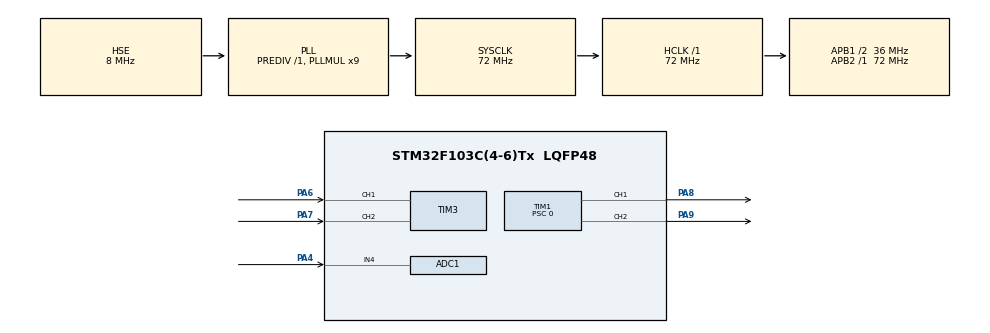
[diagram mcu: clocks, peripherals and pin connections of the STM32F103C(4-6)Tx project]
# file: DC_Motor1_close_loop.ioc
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ADC1.Channel-0\#ChannelRegularConversion=ADC_CHANNEL_4
ADC1.ContinuousConvMode=ENABLE
ADC1.NbrOfConversionFlag=1
ADC1.Rank-0\#ChannelRegularConversion=1
ADC1.SamplingTime-0\#ChannelRegularConversion=ADC_SAMPLETIME_1CYCLE_5
ADC1.master=1
Mcu.Family=STM32F1
Mcu.Name=STM32F103C(4-6)Tx
Mcu.Package=LQFP48
NVIC.PriorityGroup=NVIC_PRIORITYGROUP_4
NVIC.TIM2_IRQn=true\:0\:0\:false\:false\:true\:true\:true\:true
PA13.Mode=Serial_Wire
PA13.Signal=SYS_JTMS-SWDIO
PA14.Mode=Serial_Wire
PA14.Signal=SYS_JTCK-SWCLK
PA4.Signal=ADCx_IN4
PA6.Signal=S_TIM3_CH1
PA7.Signal=S_TIM3_CH2
PA8.Signal=S_TIM1_CH1
PA9.Signal=S_TIM1_CH2
PD0-OSC_IN.Mode=HSE-External-Oscillator
PD0-OSC_IN.Signal=RCC_OSC_IN
PD1-OSC_OUT.Mode=HSE-External-Oscillator
PD1-OSC_OUT.Signal=RCC_OSC_OUT
ProjectManager.HeapSize=0x200
ProjectManager.StackSize=0x400
ProjectManager.TargetToolchain=STM32CubeIDE
RCC.ADCPresc=RCC_ADCPCLK2_DIV6
RCC.AHBFreq_Value=72000000
RCC.APB1CLKDivider=RCC_HCLK_DIV2
RCC.APB1Freq_Value=36000000
RCC.APB1TimFreq_Value=72000000
RCC.APB2Freq_Value=72000000
RCC.APB2TimFreq_Value=72000000
RCC.HCLKFreq_Value=72000000
RCC.PLLMUL=RCC_PLL_MUL9
RCC.PLLSourceVirtual=RCC_PLLSOURCE_HSE
RCC.SYSCLKFreq_VALUE=72000000
RCC.SYSCLKSource=RCC_SYSCLKSOURCE_PLLCLK
RCC.USBFreq_Value=72000000
SH.ADCx_IN4.0=ADC1_IN4,IN4
SH.S_TIM1_CH1.0=TIM1_CH1,PWM Generation1 CH1
SH.S_TIM1_CH2.0=TIM1_CH2,PWM Generation2 CH2
SH.S_TIM3_CH1.0=TIM3_CH1,Encoder_Interface
SH.S_TIM3_CH2.0=TIM3_CH2,Encoder_Interface
TIM1.AutoReloadPreload=TIM_AUTORELOAD_PRELOAD_ENABLE
TIM1.Channel-PWM\ Generation1\ CH1=TIM_CHANNEL_1
TIM1.Channel-PWM\ Generation2\ CH2=TIM_CHANNEL_2
TIM1.Period=360
TIM1.Prescaler=0
TIM2.AutoReloadPreload=TIM_AUTORELOAD_PRELOAD_ENABLE
TIM2.Period=7200
TIM2.Prescaler=100
TIM3.AutoReloadPreload=TIM_AUTORELOAD_PRELOAD_ENABLE
TIM3.EncoderMode=TIM_ENCODERMODE_TI12
VP_TIM1_VS_ClockSourceINT.Mode=Internal
VP_TIM2_VS_ClockSourceINT.Mode=Internal
board=custom

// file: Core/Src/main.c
/* USER CODE BEGIN Header */
/**
  ******************************************************************************
  * @file           : main.c
  * @brief          : Main program body
  ******************************************************************************
  * @attention
  *
  * Copyright (c) 2023 STMicroelectronics.
  * All rights reserved.
  *
  * This software is licensed under terms that can be found in the LICENSE file
  * in the root directory of this software component.
  * If no LICENSE file comes with this software, it is provided AS-IS.
  *
  ******************************************************************************
  */
/* USER CODE END Header */
#include "main.h"

/* USER CODE BEGIN Includes */
#include "PID.h"
#include <stdlib.h>
/* USER CODE END Includes */

/* USER CODE BEGIN PTD */
PIDController MPID;

/* USER CODE END PTD */

/* USER CODE BEGIN PM */
#define Right 1
#define Left 2
uint8_t Driver = Right;

PIDController MPID;
#define MKp 1.0
#define MKi 140.0
#define MKd 0.0

// need to configuration
#define CPR 360
#define Sample_time 10 // ms
/* USER CODE END PM */

ADC_HandleTypeDef hadc1;

TIM_HandleTypeDef htim1;
TIM_HandleTypeDef htim2;
TIM_HandleTypeDef htim3;

/* USER CODE BEGIN PV */
#define pi 3.1415
#define Motor1 0

uint16_t cnt[1];
uint16_t Enc_count[1];

uint16_t count[1]; // count pulse from encoder
uint16_t new_count[1];
uint8_t count_state[1];
uint16_t diff[1]; // difference between count and new_count in a sample time

float speedM[1];
float rdps[1];

float Motor1_speed = 0;
float V1 = 0; // target speed of motor1
float pwm_M1 = 0;
float map(float Input, float Min_Input , float Max_Input ,float Min_Output, float Max_Output){

	return (float) ((Input - Min_Input) * (Max_Output - Min_Output) / (Max_Input - Min_Input) + Min_Output);
}
/* USER CODE END PV */

void SystemClock_Config(void);
static void MX_GPIO_Init(void);
static void MX_TIM2_Init(void);
static void MX_TIM3_Init(void);
static void MX_ADC1_Init(void);
static void MX_TIM1_Init(void);
/* USER CODE BEGIN PFP */
float Motors_RPS(int j, float SampleTime, float N_round)
{
	new_count[Motor1] = TIM3->CNT;

	count_state[Motor1] = __HAL_TIM_IS_TIM_COUNTING_DOWN(&htim3);

	if (count_state[j])
	{
		if (new_count[j] <= count[j])
		{ // Check for counter underflow
			diff[j] = count[j] - new_count[j];
		}
		else
		{
			diff[j] = (65536 - new_count[j]) + count[j];
		}
		speedM[j] = (float)diff[j] * 1000.0f / (N_round * SampleTime);
	}
	else
	{
		if (new_count[j] >= count[j])
		{ // Check for counter overflow
			diff[j] = new_count[j] - count[j];
		}
		else
		{
			diff[j] = (65536 - count[j]) + new_count[j];
		}
		speedM[j] = (float)diff[j] * 1000.0f / (N_round * SampleTime);
	}

	rdps[j] = 2.0f * pi * abs(speedM[j]);
	count[j] = new_count[j];

	return rdps[j];
}
/* USER CODE END PFP */

/* USER CODE BEGIN 0 */
uint8_t position=0;
int speed=0;
uint16_t ReadValue=0;
double Setpoint,Output,Input;

/* USER CODE END 0 */

int main(void)
{
  /* USER CODE BEGIN 1 */
	// PID init--------------------------------
		PID_Init(&MPID, 1);
		MPID.T = 0.01;		// T = 10ms
		MPID.limMax = 320;
		MPID.limMin = 0;
		MPID.limMaxInt = 320;
		MPID.limMinInt = 0;
		MPID.tau = 0;	// for Kd
  /* USER CODE END 1 */

  /* MCU Configuration--------------------------------------------------------*/

  /* Reset of all peripherals, Initializes the Flash interface and the Systick. */
  HAL_Init();

  /* Configure the system clock */
  SystemClock_Config();

  /* Initialize all configured peripherals */
  MX_GPIO_Init();
  MX_TIM2_Init();
  MX_TIM3_Init();
  MX_ADC1_Init();
  MX_TIM1_Init();
  /* USER CODE BEGIN 2 */
  HAL_TIM_Encoder_Start_IT(&htim3, TIM_CHANNEL_ALL);
  HAL_TIM_PWM_Start(&htim1, TIM_CHANNEL_1);
  HAL_TIM_PWM_Start(&htim1,TIM_CHANNEL_2);
  HAL_TIM_Base_Start_IT(&htim2);
  /* USER CODE END 2 */

  /* Infinite loop */
  /* USER CODE BEGIN WHILE */
  while (1)
  {
	  HAL_ADC_Start(&hadc1);
	  HAL_ADC_PollForConversion(&hadc1,1);
	  ReadValue= HAL_ADC_GetValue(&hadc1);
	  V1=map(ReadValue,0,4096,0,1);
    /* USER CODE END WHILE */

  }
}

void SystemClock_Config(void)
{
  RCC_OscInitTypeDef RCC_OscInitStruct = {0};
  RCC_ClkInitTypeDef RCC_ClkInitStruct = {0};
  RCC_PeriphCLKInitTypeDef PeriphClkInit = {0};

  /** Initializes the RCC Oscillators according to the specified parameters
  * in the RCC_OscInitTypeDef structure.
  */
  RCC_OscInitStruct.OscillatorType = RCC_OSCILLATORTYPE_HSE;
  RCC_OscInitStruct.HSEState = RCC_HSE_ON;
  RCC_OscInitStruct.HSEPredivValue = RCC_HSE_PREDIV_DIV1;
  RCC_OscInitStruct.HSIState = RCC_HSI_ON;
  RCC_OscInitStruct.PLL.PLLState = RCC_PLL_ON;
  RCC_OscInitStruct.PLL.PLLSource = RCC_PLLSOURCE_HSE;
  RCC_OscInitStruct.PLL.PLLMUL = RCC_PLL_MUL9;
  if (HAL_RCC_OscConfig(&RCC_OscInitStruct) != HAL_OK)
  {
    Error_Handler();
  }

  /** Initializes the CPU, AHB and APB buses clocks
  */
  RCC_ClkInitStruct.ClockType = RCC_CLOCKTYPE_HCLK|RCC_CLOCKTYPE_SYSCLK
                              |RCC_CLOCKTYPE_PCLK1|RCC_CLOCKTYPE_PCLK2;
  RCC_ClkInitStruct.SYSCLKSource = RCC_SYSCLKSOURCE_PLLCLK;
  RCC_ClkInitStruct.AHBCLKDivider = RCC_SYSCLK_DIV1;
  RCC_ClkInitStruct.APB1CLKDivider = RCC_HCLK_DIV2;
  RCC_ClkInitStruct.APB2CLKDivider = RCC_HCLK_DIV1;

  if (HAL_RCC_ClockConfig(&RCC_ClkInitStruct, FLASH_LATENCY_2) != HAL_OK)
  {
    Error_Handler();
  }
  PeriphClkInit.PeriphClockSelection = RCC_PERIPHCLK_ADC;
  PeriphClkInit.AdcClockSelection = RCC_ADCPCLK2_DIV6;
  if (HAL_RCCEx_PeriphCLKConfig(&PeriphClkInit) != HAL_OK)
  {
    Error_Handler();
  }
}

static void MX_ADC1_Init(void)
{

  ADC_ChannelConfTypeDef sConfig = {0};

  /** Common config
  */
  hadc1.Instance = ADC1;
  hadc1.Init.ScanConvMode = ADC_SCAN_DISABLE;
  hadc1.Init.ContinuousConvMode = ENABLE;
  hadc1.Init.DiscontinuousConvMode = DISABLE;
  hadc1.Init.ExternalTrigConv = ADC_SOFTWARE_START;
  hadc1.Init.DataAlign = ADC_DATAALIGN_RIGHT;
  hadc1.Init.NbrOfConversion = 1;
  if (HAL_ADC_Init(&hadc1) != HAL_OK)
  {
    Error_Handler();
  }

  /** Configure Regular Channel
  */
  sConfig.Channel = ADC_CHANNEL_4;
  sConfig.Rank = ADC_REGULAR_RANK_1;
  sConfig.SamplingTime = ADC_SAMPLETIME_1CYCLE_5;
  if (HAL_ADC_ConfigChannel(&hadc1, &sConfig) != HAL_OK)
  {
    Error_Handler();
  }

}

static void MX_TIM1_Init(void)
{

  TIM_ClockConfigTypeDef sClockSourceConfig = {0};
  TIM_MasterConfigTypeDef sMasterConfig = {0};
  TIM_OC_InitTypeDef sConfigOC = {0};
  TIM_BreakDeadTimeConfigTypeDef sBreakDeadTimeConfig = {0};

  htim1.Instance = TIM1;
  htim1.Init.Prescaler = 0;
  htim1.Init.CounterMode = TIM_COUNTERMODE_UP;
  htim1.Init.Period = 360;
  htim1.Init.ClockDivision = TIM_CLOCKDIVISION_DIV1;
  htim1.Init.RepetitionCounter = 0;
  htim1.Init.AutoReloadPreload = TIM_AUTORELOAD_PRELOAD_ENABLE;
  if (HAL_TIM_Base_Init(&htim1) != HAL_OK)
  {
    Error_Handler();
  }
  sClockSourceConfig.ClockSource = TIM_CLOCKSOURCE_INTERNAL;
  if (HAL_TIM_ConfigClockSource(&htim1, &sClockSourceConfig) != HAL_OK)
  {
    Error_Handler();
  }
  if (HAL_TIM_PWM_Init(&htim1) != HAL_OK)
  {
    Error_Handler();
  }
  sMasterConfig.MasterOutputTrigger = TIM_TRGO_RESET;
  sMasterConfig.MasterSlaveMode = TIM_MASTERSLAVEMODE_DISABLE;
  if (HAL_TIMEx_MasterConfigSynchronization(&htim1, &sMasterConfig) != HAL_OK)
  {
    Error_Handler();
  }
  sConfigOC.OCMode = TIM_OCMODE_PWM1;
  sConfigOC.Pulse = 0;
  sConfigOC.OCPolarity = TIM_OCPOLARITY_HIGH;
  sConfigOC.OCNPolarity = TIM_OCNPOLARITY_HIGH;
  sConfigOC.OCFastMode = TIM_OCFAST_DISABLE;
  sConfigOC.OCIdleState = TIM_OCIDLESTATE_RESET;
  sConfigOC.OCNIdleState = TIM_OCNIDLESTATE_RESET;
  if (HAL_TIM_PWM_ConfigChannel(&htim1, &sConfigOC, TIM_CHANNEL_1) != HAL_OK)
  {
    Error_Handler();
  }
  if (HAL_TIM_PWM_ConfigChannel(&htim1, &sConfigOC, TIM_CHANNEL_2) != HAL_OK)
  {
    Error_Handler();
  }
  sBreakDeadTimeConfig.OffStateRunMode = TIM_OSSR_DISABLE;
  sBreakDeadTimeConfig.OffStateIDLEMode = TIM_OSSI_DISABLE;
  sBreakDeadTimeConfig.LockLevel = TIM_LOCKLEVEL_OFF;
  sBreakDeadTimeConfig.DeadTime = 0;
  sBreakDeadTimeConfig.BreakState = TIM_BREAK_DISABLE;
  sBreakDeadTimeConfig.BreakPolarity = TIM_BREAKPOLARITY_HIGH;
  sBreakDeadTimeConfig.AutomaticOutput = TIM_AUTOMATICOUTPUT_DISABLE;
  if (HAL_TIMEx_ConfigBreakDeadTime(&htim1, &sBreakDeadTimeConfig) != HAL_OK)
  {
    Error_Handler();
  }
  HAL_TIM_MspPostInit(&htim1);

}

static void MX_TIM2_Init(void)
{

  TIM_ClockConfigTypeDef sClockSourceConfig = {0};
  TIM_MasterConfigTypeDef sMasterConfig = {0};

  htim2.Instance = TIM2;
  htim2.Init.Prescaler = 100;
  htim2.Init.CounterMode = TIM_COUNTERMODE_UP;
  htim2.Init.Period = 7200;
  htim2.Init.ClockDivision = TIM_CLOCKDIVISION_DIV1;
  htim2.Init.AutoReloadPreload = TIM_AUTORELOAD_PRELOAD_ENABLE;
  if (HAL_TIM_Base_Init(&htim2) != HAL_OK)
  {
    Error_Handler();
  }
  sClockSourceConfig.ClockSource = TIM_CLOCKSOURCE_INTERNAL;
  if (HAL_TIM_ConfigClockSource(&htim2, &sClockSourceConfig) != HAL_OK)
  {
    Error_Handler();
  }
  sMasterConfig.MasterOutputTrigger = TIM_TRGO_RESET;
  sMasterConfig.MasterSlaveMode = TIM_MASTERSLAVEMODE_DISABLE;
  if (HAL_TIMEx_MasterConfigSynchronization(&htim2, &sMasterConfig) != HAL_OK)
  {
    Error_Handler();
  }

}

static void MX_TIM3_Init(void)
{

  TIM_Encoder_InitTypeDef sConfig = {0};
  TIM_MasterConfigTypeDef sMasterConfig = {0};

  htim3.Instance = TIM3;
  htim3.Init.Prescaler = 0;
  htim3.Init.CounterMode = TIM_COUNTERMODE_UP;
  htim3.Init.Period = 65535;
  htim3.Init.ClockDivision = TIM_CLOCKDIVISION_DIV1;
  htim3.Init.AutoReloadPreload = TIM_AUTORELOAD_PRELOAD_ENABLE;
  sConfig.EncoderMode = TIM_ENCODERMODE_TI12;
  sConfig.IC1Polarity = TIM_ICPOLARITY_RISING;
  sConfig.IC1Selection = TIM_ICSELECTION_DIRECTTI;
  sConfig.IC1Prescaler = TIM_ICPSC_DIV1;
  sConfig.IC1Filter = 0;
  sConfig.IC2Polarity = TIM_ICPOLARITY_RISING;
  sConfig.IC2Selection = TIM_ICSELECTION_DIRECTTI;
  sConfig.IC2Prescaler = TIM_ICPSC_DIV1;
  sConfig.IC2Filter = 0;
  if (HAL_TIM_Encoder_Init(&htim3, &sConfig) != HAL_OK)
  {
    Error_Handler();
  }
  sMasterConfig.MasterOutputTrigger = TIM_TRGO_RESET;
  sMasterConfig.MasterSlaveMode = TIM_MASTERSLAVEMODE_DISABLE;
  if (HAL_TIMEx_MasterConfigSynchronization(&htim3, &sMasterConfig) != HAL_OK)
  {
    Error_Handler();
  }

}

static void MX_GPIO_Init(void)
{

  /* GPIO Ports Clock Enable */
  __HAL_RCC_GPIOD_CLK_ENABLE();
  __HAL_RCC_GPIOA_CLK_ENABLE();

}

/* USER CODE BEGIN 4 */
void HAL_TIM_PeriodElapsedCallback(TIM_HandleTypeDef *htim)
{
	if (htim->Instance == TIM2)
		{
			// PID // need to change for using
			pwm_M1 = PID(&MPID, V1, Motor1_speed, MKp, MKi, MKd,Motor1);
			//measurment feedback speed
			Motor1_speed = Motors_RPS(Motor1, Sample_time, CPR);

			if (V1 > 0)
			{
				TIM1->CCR2 = pwm_M1;
				TIM1->CCR1 = 0;
			}
			else
			{
				TIM1->CCR2 = 0;
				TIM1->CCR1 = 0;
			}
		}
}

/* USER CODE END 4 */

void Error_Handler(void)
{
  __disable_irq();
  while (1)
  {
  }
}
